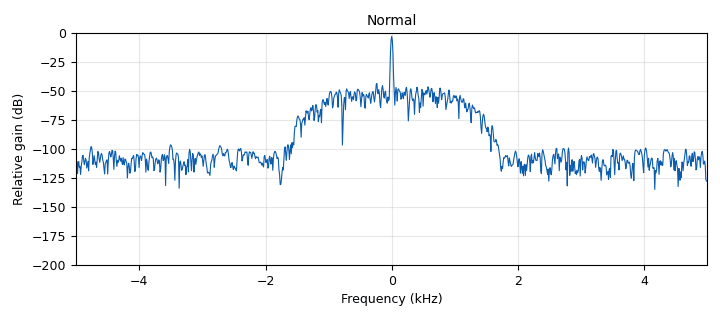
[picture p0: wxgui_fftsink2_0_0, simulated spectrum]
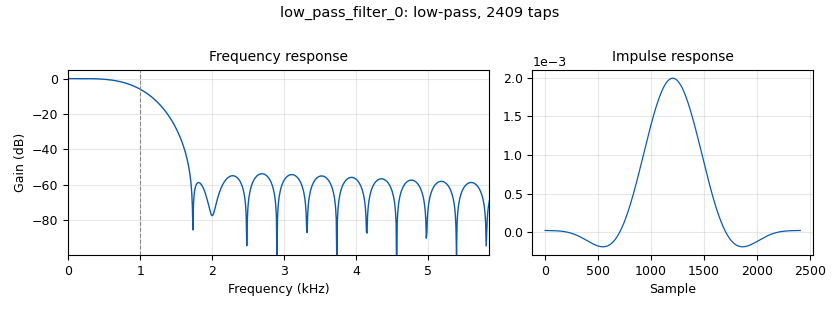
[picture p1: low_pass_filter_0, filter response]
<?xml version='1.0' encoding='utf-8'?>
<flow_graph>
<block>
<key>options</key>
<param><key>id</key><value>channel_filter_testbed</value></param>
<param><key>generate_options</key><value>wx_gui</value></param>
<param><key>category</key><value>Custom</value></param>
</block>
<block>
<key>variable</key>
<param><key>id</key><value>out_rate</value></param>
<param><key>value</key><value>10000</value></param>
</block>
<block>
<key>variable</key>
<param><key>id</key><value>in_rate</value></param>
<param><key>value</key><value>1000000</value></param>
</block>
<block>
<key>variable_slider</key>
<param><key>id</key><value>transition</value></param>
<param><key>label</key><value></value></param>
<param><key>value</key><value>1000</value></param>
<param><key>min</key><value>1000</value></param>
<param><key>max</key><value>10000</value></param>
<param><key>num_steps</key><value>1000</value></param>
<param><key>style</key><value>wx.SL_HORIZONTAL</value></param>
<param><key>converver</key><value>float_converter</value></param>
</block>
<block>
<key>wxgui_fftsink2</key>
<param><key>id</key><value>wxgui_fftsink2_0_0</value></param>
<param><key>type</key><value>complex</value></param>
<param><key>title</key><value>Normal</value></param>
<param><key>samp_rate</key><value>out_rate</value></param>
<param><key>baseband_freq</key><value>0</value></param>
<param><key>y_per_div</key><value>20</value></param>
<param><key>y_divs</key><value>10</value></param>
<param><key>ref_level</key><value>0</value></param>
<param><key>ref_scale</key><value>2.0</value></param>
<param><key>fft_size</key><value>1024</value></param>
<param><key>fft_rate</key><value>15</value></param>
<param><key>peak_hold</key><value>True</value></param>
<param><key>average</key><value>False</value></param>
<param><key>avg_alpha</key><value>0.01</value></param>
<param><key>win</key><value>None</value></param>
<param><key>freqvar</key><value>None</value></param>
</block>
<block>
<key>wxgui_fftsink2</key>
<param><key>id</key><value>wxgui_fftsink2_0</value></param>
<param><key>type</key><value>complex</value></param>
<param><key>title</key><value>Multistage</value></param>
<param><key>samp_rate</key><value>out_rate</value></param>
<param><key>baseband_freq</key><value>0</value></param>
<param><key>y_per_div</key><value>20</value></param>
<param><key>y_divs</key><value>10</value></param>
<param><key>ref_level</key><value>0</value></param>
<param><key>ref_scale</key><value>2.0</value></param>
<param><key>fft_size</key><value>1024</value></param>
<param><key>fft_rate</key><value>15</value></param>
<param><key>peak_hold</key><value>True</value></param>
<param><key>average</key><value>False</value></param>
<param><key>avg_alpha</key><value>0.01</value></param>
<param><key>win</key><value>None</value></param>
<param><key>freqvar</key><value>None</value></param>
</block>
<block>
<key>shinysdr_MultistageChannelFilter</key>
<param><key>id</key><value>shinysdr_MultistageChannelFilter_0</value></param>
<param><key>input_rate</key><value>in_rate</value></param>
<param><key>output_rate</key><value>out_rate</value></param>
<param><key>cutoff_freq</key><value>cutoff</value></param>
<param><key>transition_width</key><value>transition</value></param>
<param><key>center_freq</key><value>0</value></param>
</block>
<block>
<key>low_pass_filter</key>
<param><key>id</key><value>low_pass_filter_0</value></param>
<param><key>type</key><value>fir_filter_ccf</value></param>
<param><key>decim</key><value>int(in_rate/out_rate)</value></param>
<param><key>gain</key><value>1</value></param>
<param><key>samp_rate</key><value>in_rate</value></param>
<param><key>cutoff_freq</key><value>cutoff</value></param>
<param><key>width</key><value>transition</value></param>
<param><key>win</key><value>firdes.WIN_HAMMING</value></param>
</block>
<block>
<key>blocks_throttle</key>
<param><key>id</key><value>blocks_throttle_0</value></param>
<param><key>type</key><value>complex</value></param>
<param><key>samples_per_second</key><value>in_rate</value></param>
</block>
<block>
<key>analog_noise_source_x</key>
<param><key>id</key><value>analog_noise_source_x_0</value></param>
<param><key>type</key><value>complex</value></param>
<param><key>noise_type</key><value>analog.GR_GAUSSIAN</value></param>
<param><key>amp</key><value>1</value></param>
<param><key>seed</key><value>0</value></param>
</block>
<block>
<key>blocks_add_xx</key>
<param><key>id</key><value>blocks_add_xx_0</value></param>
<param><key>type</key><value>complex</value></param>
</block>
<block>
<key>analog_const_source_x</key>
<param><key>id</key><value>analog_const_source_x_0</value></param>
<param><key>type</key><value>float</value></param>
<param><key>const</key><value>sweep</value></param>
</block>
<block>
<key>blocks_vco_c</key>
<param><key>id</key><value>blocks_vco_c_0</value></param>
<param><key>samp_rate</key><value>in_rate</value></param>
<param><key>sensitivity</key><value>2*3.141592</value></param>
<param><key>amplitude</key><value>1</value></param>
</block>
<block>
<key>analog_sig_source_x</key>
<param><key>id</key><value>analog_sig_source_x_0</value></param>
<param><key>_enabled</key><value>False</value></param>
<param><key>type</key><value>float</value></param>
<param><key>samp_rate</key><value>in_rate</value></param>
<param><key>waveform</key><value>analog.GR_TRI_WAVE</value></param>
<param><key>freq</key><value>0.02</value></param>
<param><key>amp</key><value>out_rate*4/2</value></param>
<param><key>offset</key><value>0</value></param>
</block>
<block>
<key>variable_slider</key>
<param><key>id</key><value>cutoff</value></param>
<param><key>label</key><value></value></param>
<param><key>value</key><value>1000</value></param>
<param><key>min</key><value>1000</value></param>
<param><key>max</key><value>10000</value></param>
<param><key>num_steps</key><value>1000</value></param>
<param><key>style</key><value>wx.SL_HORIZONTAL</value></param>
<param><key>converver</key><value>float_converter</value></param>
</block>
<block>
<key>variable_slider</key>
<param><key>id</key><value>sweep</value></param>
<param><key>label</key><value></value></param>
<param><key>value</key><value>0</value></param>
<param><key>min</key><value>0</value></param>
<param><key>max</key><value>out_rate*3</value></param>
<param><key>num_steps</key><value>1000</value></param>
<param><key>style</key><value>wx.SL_HORIZONTAL</value></param>
<param><key>converver</key><value>float_converter</value></param>
</block>
<connection><source_block_id>analog_noise_source_x_0</source_block_id><sink_block_id>blocks_throttle_0</sink_block_id><source_key>0</source_key><sink_key>0</sink_key></connection>
<connection><source_block_id>shinysdr_MultistageChannelFilter_0</source_block_id><sink_block_id>wxgui_fftsink2_0</sink_block_id><source_key>0</source_key><sink_key>0</sink_key></connection>
<connection><source_block_id>low_pass_filter_0</source_block_id><sink_block_id>wxgui_fftsink2_0_0</sink_block_id><source_key>0</source_key><sink_key>0</sink_key></connection>
<connection><source_block_id>analog_sig_source_x_0</source_block_id><sink_block_id>blocks_vco_c_0</sink_block_id><source_key>0</source_key><sink_key>0</sink_key></connection>
<connection><source_block_id>blocks_throttle_0</source_block_id><sink_block_id>blocks_add_xx_0</sink_block_id><source_key>0</source_key><sink_key>0</sink_key></connection>
<connection><source_block_id>blocks_add_xx_0</source_block_id><sink_block_id>shinysdr_MultistageChannelFilter_0</sink_block_id><source_key>0</source_key><sink_key>0</sink_key></connection>
<connection><source_block_id>blocks_add_xx_0</source_block_id><sink_block_id>low_pass_filter_0</sink_block_id><source_key>0</source_key><sink_key>0</sink_key></connection>
<connection><source_block_id>blocks_vco_c_0</source_block_id><sink_block_id>blocks_add_xx_0</sink_block_id><source_key>0</source_key><sink_key>1</sink_key></connection>
<connection><source_block_id>analog_const_source_x_0</source_block_id><sink_block_id>blocks_vco_c_0</sink_block_id><source_key>0</source_key><sink_key>0</sink_key></connection>
</flow_graph>
